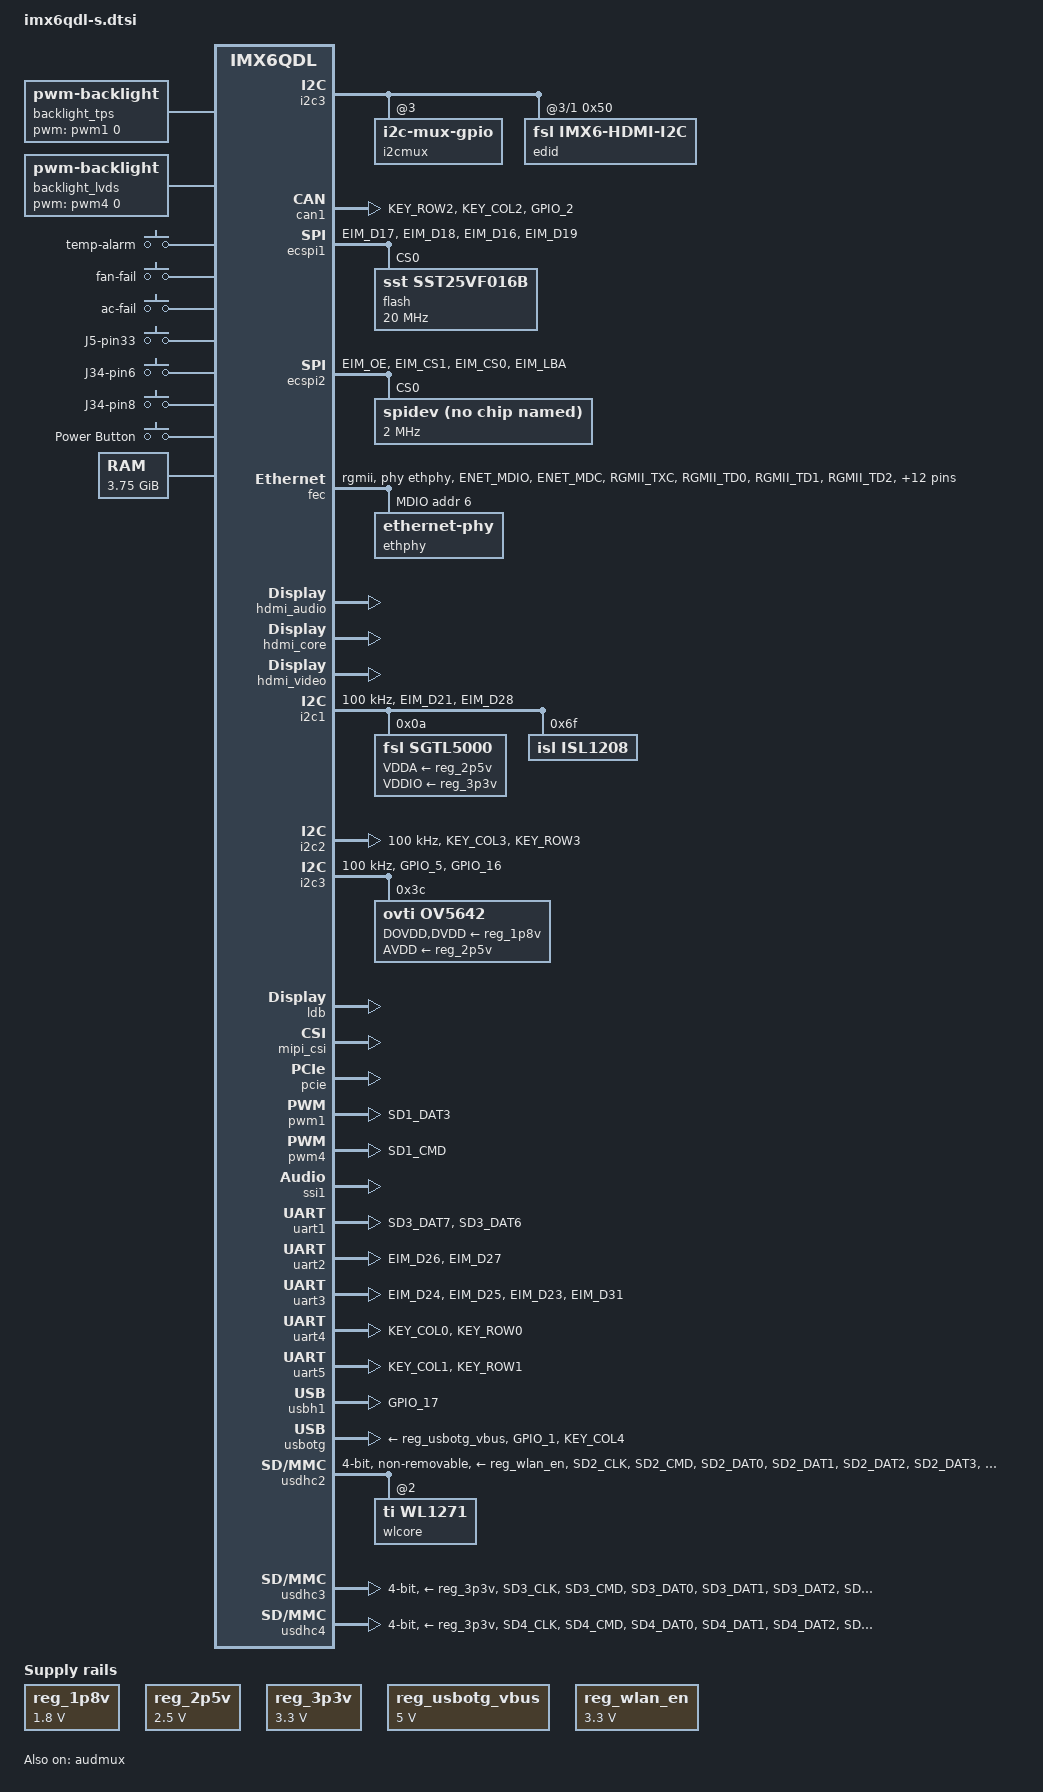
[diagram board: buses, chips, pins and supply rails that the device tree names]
/*
 * Copyright 2015 Boundary Devices, Inc.
 * Copyright 2012 Freescale Semiconductor, Inc.
 * Copyright 2011 Linaro Ltd.
 *
 * The code contained herein is licensed under the GNU General Public
 * License. You may obtain a copy of the GNU General Public License
 * Version 2 or later at the following locations:
 *
 * http://www.opensource.org/licenses/gpl-license.html
 * http://www.gnu.org/copyleft/gpl.html
 */
#include <dt-bindings/gpio/gpio.h>
#include <dt-bindings/input/input.h>

&iomuxc {
	pinctrl-names = "default";
	pinctrl-0 = <&pinctrl_hog>;

	iomuxc_imx6q_s: iomuxc-imx6q-sgrp {
		status = "okay";
	};
};

&iomuxc_imx6q_s {
	pinctrl_audmux: audmuxgrp {
		fsl,pins = <
			MX6QDL_PAD_CSI0_DAT7__AUD3_RXD		0x130b0
			MX6QDL_PAD_CSI0_DAT4__AUD3_TXC		0x130b0
			MX6QDL_PAD_CSI0_DAT5__AUD3_TXD		0x110b0
			MX6QDL_PAD_CSI0_DAT6__AUD3_TXFS		0x130b0
		>;
	};

	pinctrl_bt_rfkill: bt-rfkillgrp {
		fsl,pins = <
#define GP_BT_RFKILL_RESET	<&gpio6 16 GPIO_ACTIVE_LOW>
			MX6QDL_PAD_NANDF_CS3__GPIO6_IO16	0x030b0
		>;
	};

	pinctrl_ecspi1: ecspi1grp {
		fsl,pins = <
			MX6QDL_PAD_EIM_D17__ECSPI1_MISO		0x100b1
			MX6QDL_PAD_EIM_D18__ECSPI1_MOSI		0x100b1
			MX6QDL_PAD_EIM_D16__ECSPI1_SCLK		0x000b1
#define GP_ECSPI1_NOR_CS	<&gpio3 19 GPIO_ACTIVE_LOW>
			MX6QDL_PAD_EIM_D19__GPIO3_IO19		0x0b0b1
		>;
	};

	pinctrl_ecspi2: ecspi2grp {
		fsl,pins = <
			MX6QDL_PAD_EIM_OE__ECSPI2_MISO		0x100b1
			MX6QDL_PAD_EIM_CS1__ECSPI2_MOSI		0x100b1
			MX6QDL_PAD_EIM_CS0__ECSPI2_SCLK		0x000b1
#define GP_ECSPI2_CS1		<&gpio5 9 GPIO_ACTIVE_LOW>
			MX6QDL_PAD_EIM_LBA__GPIO2_IO27		0x0b0b1
		>;
	};

	pinctrl_enet: enetgrp {
		fsl,pins = <
			MX6QDL_PAD_ENET_MDIO__ENET_MDIO		0x1b0b0
			MX6QDL_PAD_ENET_MDC__ENET_MDC		0x1b0b0
			MX6QDL_PAD_RGMII_TXC__RGMII_TXC		0x100b0
			MX6QDL_PAD_RGMII_TD0__RGMII_TD0		0x100b0
			MX6QDL_PAD_RGMII_TD1__RGMII_TD1		0x100b0
			MX6QDL_PAD_RGMII_TD2__RGMII_TD2		0x100b0
			MX6QDL_PAD_RGMII_TD3__RGMII_TD3		0x100b0
			MX6QDL_PAD_RGMII_TX_CTL__RGMII_TX_CTL	0x100b0
			MX6QDL_PAD_ENET_REF_CLK__ENET_TX_CLK	0x100b0
			MX6QDL_PAD_RGMII_RXC__RGMII_RXC		0x1b0b0
			MX6QDL_PAD_RGMII_RD0__RGMII_RD0		0x1b0b0
			MX6QDL_PAD_RGMII_RD1__RGMII_RD1		0x1b0b0
			MX6QDL_PAD_RGMII_RD2__RGMII_RD2		0x1b0b0
			MX6QDL_PAD_RGMII_RD3__RGMII_RD3		0x1b0b0
			MX6QDL_PAD_RGMII_RX_CTL__RGMII_RX_CTL	0x1b0b0
#define GP_ENET_PHY_RESET	<&gpio1 27 GPIO_ACTIVE_LOW>
			MX6QDL_PAD_ENET_RXD0__GPIO1_IO27	0x030b0
#define GPIRQ_ENET_PHY		<&gpio1 28 IRQ_TYPE_LEVEL_LOW>
			MX6QDL_PAD_ENET_TX_EN__GPIO1_IO28	0x1b0b0
#define GPIRQ_ENET		<&gpio1 6 IRQ_TYPE_LEVEL_HIGH>
			MX6QDL_PAD_GPIO_6__ENET_IRQ		0x000b1
		>;
	};

	pinctrl_flexcan1: flexcan1grp {
		fsl,pins = <
			MX6QDL_PAD_KEY_ROW2__FLEXCAN1_RX	0x1b0b0
			MX6QDL_PAD_KEY_COL2__FLEXCAN1_TX	0x1b0b0
#define GP_FLEXCAN1_STANDBY	<&gpio1 2 GPIO_ACTIVE_HIGH>
			MX6QDL_PAD_GPIO_2__GPIO1_IO02		0x0b0b0
		>;
	};

	pinctrl_gpio_keys: gpio-keysgrp {
		fsl,pins = <
#define GP_TEMP_ALARM		<&gpio2 21 GPIO_ACTIVE_LOW>
			MX6QDL_PAD_EIM_A17__GPIO2_IO21		0x1b0b0
#define GP_FAN_FAIL		<&gpio2 19 GPIO_ACTIVE_LOW>
			MX6QDL_PAD_EIM_A19__GPIO2_IO19		0x1b0b0
#define GP_AC_FAIL		<&gpio2 18 GPIO_ACTIVE_LOW>
			MX6QDL_PAD_EIM_A20__GPIO2_IO18		0x1b0b0
#define GP_J5_PIN33		<&gpio1 16 GPIO_ACTIVE_LOW>
			MX6QDL_PAD_SD1_DAT0__GPIO1_IO16		0x1b0b0
#define GP_J34_PIN6		<&gpio5 4 GPIO_ACTIVE_LOW>
			MX6QDL_PAD_EIM_A24__GPIO5_IO04		0x1b0b0
#define GP_J34_PIN8		<&gpio6 6 GPIO_ACTIVE_LOW>
			MX6QDL_PAD_EIM_A23__GPIO6_IO06		0x1b0b0
#define GP_ON_OFF		<&gpio2 7 GPIO_ACTIVE_LOW>
			MX6QDL_PAD_NANDF_D7__GPIO2_IO07		0x1b0b0
		>;
	};

	pinctrl_hog: hoggrp {
		fsl,pins = <
#define GP_LED_RED		<&gpio4 15 GPIO_ACTIVE_LOW>
			MX6QDL_PAD_KEY_ROW4__GPIO4_IO15		0x0b0b0
#define GP_LED_GREEN		<&gpio1 7 GPIO_ACTIVE_LOW>
			MX6QDL_PAD_GPIO_7__GPIO1_IO07		0x0b0b0
#define GP_LED_AMBER		<&gpio1 9 GPIO_ACTIVE_LOW>
			MX6QDL_PAD_GPIO_9__GPIO1_IO09		0x0b0b0
#define GP_J34_DRY1		<&gpio2 16 GPIO_ACTIVE_HIGH>
			MX6QDL_PAD_EIM_A22__GPIO2_IO16		0x030b0
#define GP_J34_DRY2		<&gpio5 2 GPIO_ACTIVE_HIGH>
			MX6QDL_PAD_EIM_A25__GPIO5_IO02		0x030b0
#define GP_TP_R201		<&gpio4 16 GPIO_ACTIVE_LOW>
			MX6QDL_PAD_DI0_DISP_CLK__GPIO4_IO16	0x1b0b0
		>;
	};

	pinctrl_i2c1: i2c1grp {
		fsl,pins = <
			MX6QDL_PAD_EIM_D21__I2C1_SCL		0x4001b8b1
			MX6QDL_PAD_EIM_D28__I2C1_SDA		0x4001b8b1
		>;
	};

	pinctrl_i2c1_isl1208: i2c1-isl1208grp {
		fsl,pins = <
#define GPIRQ_RTC_ISL1208	<&gpio6 7 IRQ_TYPE_LEVEL_LOW>
			MX6QDL_PAD_NANDF_CLE__GPIO6_IO07	0x1b0b0
		>;
	};

	pinctrl_i2c1_sgtl5000: i2c1-sgtl5000grp {
		fsl,pins = <
			MX6QDL_PAD_GPIO_0__CCM_CLKO1		0x000b0		/* sys_mclk */
#define GP_TDA7491P_GAIN0	<&gpio3 20 GPIO_ACTIVE_HIGH>
			MX6QDL_PAD_EIM_D20__GPIO3_IO20		0x030b0
#define GP_TDA7491P_GAIN1	<&gpio3 30 GPIO_ACTIVE_HIGH>
			MX6QDL_PAD_EIM_D30__GPIO3_IO30		0x030b0
#define GP_TDA7491P_STBY	<&gpio2 20 GPIO_ACTIVE_LOW>
			MX6QDL_PAD_EIM_A18__GPIO2_IO20		0x030b0
#define GP_TDA7491P_MUTE	<&gpio2 22 GPIO_ACTIVE_LOW>
			MX6QDL_PAD_EIM_A16__GPIO2_IO22		0x030b0
#define GPIRQ_MIC_DET		<&gpio1 24 IRQ_TYPE_LEVEL_LOW>
			MX6QDL_PAD_ENET_RX_ER__GPIO1_IO24	0x1b0b0
		>;
	};

	pinctrl_i2c2: i2c2grp {
		fsl,pins = <
			MX6QDL_PAD_KEY_COL3__I2C2_SCL		0x4001b8b1
			MX6QDL_PAD_KEY_ROW3__I2C2_SDA		0x4001b8b1
		>;
	};

	pinctrl_i2c3: i2c3grp {
		fsl,pins = <
			MX6QDL_PAD_GPIO_5__I2C3_SCL		0x4001b8b1
			MX6QDL_PAD_GPIO_16__I2C3_SDA		0x4001b8b1
		>;
	};

	pinctrl_i2c3_ov5642: i2c2a-ov5642grp { /* parallel camera */
		fsl,pins = <
			MX6QDL_PAD_CSI0_DAT12__IPU1_CSI0_DATA12		0x1b0b0
			MX6QDL_PAD_CSI0_DAT13__IPU1_CSI0_DATA13		0x1b0b0
			MX6QDL_PAD_CSI0_DAT14__IPU1_CSI0_DATA14		0x1b0b0
			MX6QDL_PAD_CSI0_DAT15__IPU1_CSI0_DATA15		0x1b0b0
			MX6QDL_PAD_CSI0_DAT16__IPU1_CSI0_DATA16		0x1b0b0
			MX6QDL_PAD_CSI0_DAT17__IPU1_CSI0_DATA17		0x1b0b0
			MX6QDL_PAD_CSI0_DAT18__IPU1_CSI0_DATA18		0x1b0b0
			MX6QDL_PAD_CSI0_DAT19__IPU1_CSI0_DATA19		0x1b0b0
			MX6QDL_PAD_CSI0_DATA_EN__IPU1_CSI0_DATA_EN	0x1b0b0
			MX6QDL_PAD_CSI0_PIXCLK__IPU1_CSI0_PIXCLK	0x1b0b0
			MX6QDL_PAD_CSI0_MCLK__IPU1_CSI0_HSYNC		0x1b0b0
			MX6QDL_PAD_CSI0_VSYNC__IPU1_CSI0_VSYNC		0x1b0b0
			MX6QDL_PAD_GPIO_3__CCM_CLKO2			0x000b0		/* mclk */
#define GP_OV5642_POWER_DOWN	<&gpio3 29 GPIO_ACTIVE_HIGH>
			MX6QDL_PAD_EIM_D29__GPIO3_IO29			0x0b0b0
#define GP_OV5642_RESET		<&gpio1 8 GPIO_ACTIVE_LOW>
			MX6QDL_PAD_GPIO_8__GPIO1_IO08			0x030b0
		>;
	};

	pinctrl_i2c3mux: i2c3muxgrp {
		fsl,pins = <
#define GP_I2C3_EDID		<&gpio2 17 GPIO_ACTIVE_HIGH>
			MX6QDL_PAD_EIM_A21__GPIO2_IO17			0x030b0
		>;
	};

	pinctrl_poweroff: poweroffgrp {
		fsl,pins = <
	/* Main power, high shuts down system */
#define GP_POWER_OFF			<&gpio7 1 GPIO_ACTIVE_HIGH>
			MX6QDL_PAD_SD3_DAT4__GPIO7_IO01		0x030b0
		>;
	};

	pinctrl_pwm1: pwm1grp {
		fsl,pins = <
			MX6QDL_PAD_SD1_DAT3__PWM1_OUT		0x030b1
		>;
	};

	pinctrl_pwm4: pwm4grp {
		fsl,pins = <
			MX6QDL_PAD_SD1_CMD__PWM4_OUT		0x030b1
		>;
	};

	pinctrl_reg_usbotg_vbus: reg-usbotg-vbusgrp {
		fsl,pins = <
#define GP_REG_USBOTG	<&gpio3 22 GPIO_ACTIVE_HIGH>
			MX6QDL_PAD_EIM_D22__GPIO3_IO22		0x030b0
		>;
	};

	pinctrl_reg_wlan_en: reg-wlan-engrp {
		fsl,pins = <
#define GP_REG_WLAN_EN	<&gpio6 15 GPIO_ACTIVE_HIGH>
			MX6QDL_PAD_NANDF_CS2__GPIO6_IO15	0x030b0
		>;
	};

	pinctrl_uart1: uart1grp {
		fsl,pins = <
			MX6QDL_PAD_SD3_DAT7__UART1_TX_DATA	0x1b0b1
			MX6QDL_PAD_SD3_DAT6__UART1_RX_DATA	0x1b0b1
		>;
	};

	pinctrl_uart2: uart2grp {
		fsl,pins = <
			MX6QDL_PAD_EIM_D26__UART2_TX_DATA	0x1b0b1
			MX6QDL_PAD_EIM_D27__UART2_RX_DATA	0x1b0b1
		>;
	};

	pinctrl_uart3: uart3grp {
		fsl,pins = <
			MX6QDL_PAD_EIM_D24__UART3_TX_DATA	0x1b0b1
			MX6QDL_PAD_EIM_D25__UART3_RX_DATA	0x1b0b1
			MX6QDL_PAD_EIM_D23__UART3_CTS_B		0x1b0b1
			MX6QDL_PAD_EIM_D31__UART3_RTS_B		0x1b0b1
		>;
	};

	pinctrl_uart4: uart4grp {
		fsl,pins = <
			MX6QDL_PAD_KEY_COL0__UART4_TX_DATA	0x0b0b1
			MX6QDL_PAD_KEY_ROW0__UART4_RX_DATA	0x1b0b1
		>;
	};

	pinctrl_uart5: uart5grp {
		fsl,pins = <
			MX6QDL_PAD_KEY_COL1__UART5_TX_DATA	0x0b0b1
			MX6QDL_PAD_KEY_ROW1__UART5_RX_DATA	0x1b0b1
		>;
	};

	pinctrl_usbh1: usbh1grp {
		fsl,pins = <
#define GP_USBH1_HUB_RESET	<&gpio7 12 GPIO_ACTIVE_LOW>
			MX6QDL_PAD_GPIO_17__GPIO7_IO12		0x030b0
		>;
	};

	pinctrl_usbotg: usbotggrp {
		fsl,pins = <
			MX6QDL_PAD_GPIO_1__USB_OTG_ID		0x17059
			MX6QDL_PAD_KEY_COL4__USB_OTG_OC		0x1b0b0
		>;
	};

	pinctrl_usdhc2: usdhc2grp {
		fsl,pins = <
			MX6QDL_PAD_SD2_CLK__SD2_CLK		0x10071
			MX6QDL_PAD_SD2_CMD__SD2_CMD		0x17071
			MX6QDL_PAD_SD2_DAT0__SD2_DATA0		0x17071
			MX6QDL_PAD_SD2_DAT1__SD2_DATA1		0x17071
			MX6QDL_PAD_SD2_DAT2__SD2_DATA2		0x17071
			MX6QDL_PAD_SD2_DAT3__SD2_DATA3		0x17071
			MX6QDL_PAD_SD1_CLK__OSC32K_32K_OUT	0x000b0		/* slow clock */
#define GPIRQ_WL1271	<&gpio6 14 IRQ_TYPE_LEVEL_HIGH>
			MX6QDL_PAD_NANDF_CS1__GPIO6_IO14	0x100b0
		>;
	};

	pinctrl_usdhc3: usdhc3grp {
		fsl,pins = <
			MX6QDL_PAD_SD3_CLK__SD3_CLK		0x10059
			MX6QDL_PAD_SD3_CMD__SD3_CMD		0x17059
			MX6QDL_PAD_SD3_DAT0__SD3_DATA0		0x17059
			MX6QDL_PAD_SD3_DAT1__SD3_DATA1		0x17059
			MX6QDL_PAD_SD3_DAT2__SD3_DATA2		0x17059
			MX6QDL_PAD_SD3_DAT3__SD3_DATA3		0x17059
#define GP_USDHC3_CD	<&gpio7 0 GPIO_ACTIVE_LOW>
			MX6QDL_PAD_SD3_DAT5__GPIO7_IO00		0x1b0b0
		>;
	};

	pinctrl_usdhc4: usdhc4grp {
		fsl,pins = <
			MX6QDL_PAD_SD4_CLK__SD4_CLK		0x10059
			MX6QDL_PAD_SD4_CMD__SD4_CMD		0x17059
			MX6QDL_PAD_SD4_DAT0__SD4_DATA0		0x17059
			MX6QDL_PAD_SD4_DAT1__SD4_DATA1		0x17059
			MX6QDL_PAD_SD4_DAT2__SD4_DATA2		0x17059
			MX6QDL_PAD_SD4_DAT3__SD4_DATA3		0x17059
#define GP_USDHC4_CD	<&gpio2 6 GPIO_ACTIVE_LOW>
			MX6QDL_PAD_NANDF_D6__GPIO2_IO06		0x1b0b0
		>;
	};
};

/ {
	aliases {
		backlight_lvds = &backlight_lvds;
		fb_hdmi = &fb_hdmi;
		fb_lvds = &fb_lvds;
		ldb = &ldb;
		mmc0 = &usdhc3;
		mmc1 = &usdhc4;
		mmc2 = &usdhc2;
		mxcfb0 = &fb_hdmi;
		mxcfb1 = &fb_lvds;
		pwm_lvds = &pwm4;
		t_lvds = &t_lvds;
	};

	backlight_tps: backlight_tps {
		brightness-levels = <0 1 2 3 4 5 6 7 8 9 10>;
		compatible = "pwm-backlight";
		default-brightness-level = <10>;
		pwms = <&pwm1 0 5000000>;
	};

	backlight_lvds: backlight_lvds {
		brightness-levels = <0 1 2 3 4 5 6 7 8 9 10>;
		compatible = "pwm-backlight";
		default-brightness-level = <5>;
		display = <&fb_lvds>;
		pwms = <&pwm4 0 5000000>;
	};

	bt_rfkill {
		compatible = "net,rfkill-gpio";
		pinctrl-names = "default";
		pinctrl-0 = <&pinctrl_bt_rfkill>;
		name = "bt_rfkill";
		type = <2>;	/* bluetooth */
		reset-gpios = GP_BT_RFKILL_RESET;
	};

	fb_hdmi: fb@0 {
		compatible = "fsl,mxc_sdc_fb";
		disp_dev = "hdmi";
		interface_pix_fmt = "RGB24";
		mode_str ="1280x720M@60";
		default_bpp = <32>;
		int_clk = <0>;
		late_init = <0>;
		status = "okay";
	};

	fb_lvds: fb@1 {
		compatible = "fsl,mxc_sdc_fb";
		disp_dev = "ldb";
		interface_pix_fmt = "RGB666";
		default_bpp = <32>;
		int_clk = <0>;
		late_init = <0>;
		status = "okay";
	};

	gpio-keys {
		compatible = "gpio-keys";
		pinctrl-names = "default";
		pinctrl-0 = <&pinctrl_gpio_keys>;

		temp-alarm {
			label = "temp-alarm";
			gpios = GP_TEMP_ALARM;
			linux,code = <KEY_FN_F1>;
		};

		fan-fail {
			label = "fan-fail";
			gpios = GP_FAN_FAIL;
			linux,code = <KEY_FN_F2>;
		};

		ac-fail {
			label = "ac-fail";
			gpios = GP_AC_FAIL;
			linux,code = <KEY_FN_F3>;
		};

		J5-pin33 {
			label = "J5-pin33";
			gpios = GP_J5_PIN33;
			linux,code = <KEY_FN_F4>;
		};

		J34-pin6 {
			label = "J34-pin6";
			gpios = GP_J34_PIN6;
			linux,code = <KEY_FN_F5>;
		};

		J34-pin8 {
			label = "J34-pin8";
			gpios = GP_J34_PIN8;
			linux,code = <KEY_FN_F6>;
		};

		power {
			label = "Power Button";
			gpios = GP_ON_OFF;
			linux,code = <KEY_POWER>;
			gpio-key,wakeup;
		};
	};

	i2cmux@3 {
		compatible = "i2c-mux-gpio";
		pinctrl-names = "default";
		pinctrl-0 = <&pinctrl_i2c3mux>;
		#address-cells = <1>;
		#size-cells = <0>;
		mux-gpios = GP_I2C3_EDID;
		i2c-parent = <&i2c3>;
		idle-state = <0>;

		i2c3a: i2c3@1 {
			reg = <1>;
			#address-cells = <1>;
			#size-cells = <0>;
		};
	};

	memory {
		reg = <0x10000000 0xeffffc00>;
	};

	poweroff: poweroff {
		compatible = "gpio-poweroff";
		gpios = GP_POWER_OFF;
		pinctrl-names = "default";
		pinctrl-0 = <&pinctrl_poweroff>;
	};

	regulators {
		compatible = "simple-bus";
		#address-cells = <1>;
		#size-cells = <0>;

		reg_1p8v: regulator@0 {
			compatible = "regulator-fixed";
			reg = <0>;
			regulator-name = "1P8V";
			regulator-min-microvolt = <1800000>;
			regulator-max-microvolt = <1800000>;
			regulator-always-on;
		};

		reg_2p5v: regulator@1 {
			compatible = "regulator-fixed";
			reg = <1>;
			regulator-name = "2P5V";
			regulator-min-microvolt = <2500000>;
			regulator-max-microvolt = <2500000>;
			regulator-always-on;
		};

		reg_3p3v: regulator@2 {
			compatible = "regulator-fixed";
			reg = <2>;
			regulator-name = "3P3V";
			regulator-min-microvolt = <3300000>;
			regulator-max-microvolt = <3300000>;
			regulator-always-on;
		};

		reg_usbotg_vbus: regulator@3 {
			compatible = "regulator-fixed";
			reg = <3>;
			pinctrl-names = "default";
			pinctrl-0 = <&pinctrl_reg_usbotg_vbus>;
			regulator-name = "usb_otg_vbus";
			regulator-min-microvolt = <5000000>;
			regulator-max-microvolt = <5000000>;
			gpio = GP_REG_USBOTG;
			enable-active-high;
		};

		reg_wlan_en: regulator@4 {
			compatible = "regulator-fixed";
			reg = <4>;
			pinctrl-names = "default";
			pinctrl-0 = <&pinctrl_reg_wlan_en>;
			regulator-name = "wlan-en";
			regulator-min-microvolt = <3300000>;
			regulator-max-microvolt = <3300000>;
			gpio = GP_REG_WLAN_EN;
			startup-delay-us = <70000>;
			enable-active-high;
		};
	};

	sound {
		compatible = "fsl,imx6q-s-sgtl5000",
			     "fsl,imx-audio-sgtl5000";
		model = "imx6q-s-sgtl5000";
		ssi-controller = <&ssi1>;
		audio-codec = <&sgtl5000>;
		audio-routing =
			"MIC_IN", "Mic Jack",
			"Mic Jack", "Mic Bias",
			"Ext Spk", "HP_OUT";
		mux-int-port = <1>;
		mux-ext-port = <3>;
		mute-gpios = GP_TDA7491P_MUTE;
		amp-standby-gpios = GP_TDA7491P_STBY;
		amp-gain-gpios = GP_TDA7491P_GAIN1, GP_TDA7491P_GAIN0;
	};

	sound-hdmi {
		compatible = "fsl,imx6q-audio-hdmi",
			     "fsl,imx-audio-hdmi";
		model = "imx-audio-hdmi";
		hdmi-controller = <&hdmi_audio>;
	};

	v4l2_cap_0 {
		compatible = "fsl,imx6q-v4l2-capture";
		ipu_id = <0>;
		csi_id = <0>;
		mipi_camera = <0>;
		mclk_source = <0>;
		status = "okay";
	};

	v4l2_out {
		compatible = "fsl,mxc_v4l2_output";
		status = "okay";
	};
};

&audmux {
	pinctrl-names = "default";
	pinctrl-0 = <&pinctrl_audmux>;
	status = "okay";
};

&can1 {
	pinctrl-names = "default";
	pinctrl-0 = <&pinctrl_flexcan1>;
	trx-stby-gpio = GP_FLEXCAN1_STANDBY;
	status = "okay";
};

&ecspi1 {
	pinctrl-names = "default";
	pinctrl-0 = <&pinctrl_ecspi1>;
	fsl,spi-num-chipselects = <1>;
	cs-gpios = GP_ECSPI1_NOR_CS;
	status = "okay";

	flash: m25p80@0 {
		compatible = "sst,sst25vf016b";
		spi-max-frequency = <20000000>;
		reg = <0>;
		#address-cells = <1>;
		#size-cells = <1>;
		mtd@00000000 {
			label = "U-Boot";
			reg = <0x0 0xC0000>;
		};

		mtd@000C0000 {
			label = "env";
			reg = <0xC0000 0x2000>;
		};
		mtd@000C2000 {
			label = "splash";
			reg = <0xC2000 0x13e000>;
		};
	};
};

&ecspi2 {
	pinctrl-names = "default";
	pinctrl-0 = <&pinctrl_ecspi2>;
	fsl,spi-num-chipselects = <1>;
	cs-gpios = GP_ECSPI2_CS1;
	status = "okay";

	spidev@0 {
		compatible = "spidev";
		spi-max-frequency = <2000000>;
		reg = <0>;
	};
};

&fec {
	interrupts-extended = GPIRQ_ENET,
			      <&gpc 0 119 IRQ_TYPE_LEVEL_HIGH>;
	phy-handle = <&ethphy>;
	phy-mode = "rgmii";
#if 0
	phy-reset-gpios = GP_ENET_PHY_RESET;
#endif
	pinctrl-names = "default";
	pinctrl-0 = <&pinctrl_enet>;
	status = "okay";

	mdio {
		#address-cells = <0>;
		#size-cells = <1>;

		ethphy: ethernet-phy@6 {
			reg = <6>;
			interrupts-extended = GPIRQ_ENET_PHY;
		};
	};
};

&hdmi_audio {
	status = "okay";
};

&hdmi_core {
	ipu_id = <0>;
	disp_id = <0>;
	status = "okay";
};

&hdmi_video {
	fsl,phy_reg_vlev = <0x0294>;
	fsl,phy_reg_cksymtx = <0x800d>;
	status = "okay";
};

&i2c1 {
	clock-frequency = <100000>;
	pinctrl-names = "default";
	pinctrl-0 = <&pinctrl_i2c1>;
	status = "okay";

	sgtl5000: sgtl5000@0a {
		compatible = "fsl,sgtl5000";
		pinctrl-names = "default";
		pinctrl-0 = <&pinctrl_i2c1_sgtl5000>;
		reg = <0x0a>;
		clocks = <&clks IMX6QDL_CLK_CKO>;
		VDDA-supply = <&reg_2p5v>;
		VDDIO-supply = <&reg_3p3v>;
	};

	isl1208@6f {
		compatible = "isl,isl1208";
		pinctrl-names = "default";
		pinctrl-0 = <&pinctrl_i2c1_isl1208>;
		reg = <0x6f>;
		interrupts-extended = GPIRQ_RTC_ISL1208;
	};
};

&i2c2 {
	clock-frequency = <100000>;
	pinctrl-names = "default";
	pinctrl-0 = <&pinctrl_i2c2>;
	status = "okay";
};

&i2c3 {
	clock-frequency = <100000>;
	pinctrl-names = "default";
	pinctrl-0 = <&pinctrl_i2c3>;
	status = "okay";

	ov5642: ov5642@3c {
		compatible = "ovti,ov5642";
		reg = <0x3c>;
		pinctrl-names = "default";
		pinctrl-0 = <&pinctrl_i2c3_ov5642>;
		clocks = <&clks IMX6QDL_CLK_CKO2>;
		clock-names = "csi_mclk";
		DOVDD-supply = <&reg_1p8v>;
		AVDD-supply = <&reg_2p5v>;
		DVDD-supply = <&reg_1p8v>;
		pwn-gpios = GP_OV5642_POWER_DOWN;
		rst-gpios = GP_OV5642_RESET;
		ipu_id = <0>;
		csi_id = <0>;
		mclk = <24000000>;
		mclk_source = <0>;
	};
};

&i2c3a {
	edid@50 {
		compatible = "fsl,imx6-hdmi-i2c";
		reg = <0x50>;
	};
};

&ldb {
	status = "okay";

	lvds-channel@0 {
		crtc = "ipu1-di1";
		fsl,data-mapping = "spwg";
		fsl,data-width = <18>;
		primary;
		status = "okay";

		display-timings {
			t_lvds: t_lvds_default {
				clock-frequency = <68936991>;
				hactive = <1280>;
				vactive = <800>;
				hback-porch = <48>;
				hfront-porch = <48>;
				vback-porch = <8>;
				vfront-porch = <2>;
				hsync-len = <32>;
				vsync-len = <6>;
			};
		};
	};
};

&mipi_csi {
	lanes = <2>;
	status = "okay";
};

&pcie {
	status = "okay";
};

&pwm1 {
	pinctrl-names = "default";
	pinctrl-0 = <&pinctrl_pwm1>;
	status = "okay";
};

&pwm4 {
	pinctrl-names = "default";
	pinctrl-0 = <&pinctrl_pwm4>;
	status = "okay";
};

&ssi1 {
	fsl,mode = "i2s-slave";
	status = "okay";
};

&uart1 {
	pinctrl-names = "default";
	pinctrl-0 = <&pinctrl_uart1>;
	status = "okay";
};

&uart2 {
	pinctrl-names = "default";
	pinctrl-0 = <&pinctrl_uart2>;
	status = "okay";
};

&uart3 {
	pinctrl-names = "default";
	pinctrl-0 = <&pinctrl_uart3>;
	fsl,uart-has-rtscts;
	status = "okay";
};

&uart4 {
	pinctrl-names = "default";
	pinctrl-0 = <&pinctrl_uart4>;
	status = "okay";
};

&uart5 {
	pinctrl-names = "default";
	pinctrl-0 = <&pinctrl_uart5>;
	status = "okay";
};

&usbh1 {
	pinctrl-names = "default";
	pinctrl-0 = <&pinctrl_usbh1>;
	disable-over-current;
	reset-gpios = GP_USBH1_HUB_RESET;
	status = "okay";
};

&usbotg {
	vbus-supply = <&reg_usbotg_vbus>;
	pinctrl-names = "default";
	pinctrl-0 = <&pinctrl_usbotg>;
	disable-over-current;
	status = "okay";
};

&usdhc2 {	/* uSDHC2, TiWi wl1271 */
	pinctrl-names = "default";
	pinctrl-0 = <&pinctrl_usdhc2>;
	bus-width = <4>;
	non-removable;
	vmmc-supply = <&reg_wlan_en>;
	vqmmc-1-8-v;
	cap-power-off-card;
	keep-power-in-suspend;
	status = "okay";

	#address-cells = <1>;
	#size-cells = <0>;
	wlcore: wlcore@2 {
		compatible = "ti,wl1271";
		interrupts-extended = GPIRQ_WL1271;
		reg = <2>;
		ref-clock-frequency = <38400000>;
	};
};

&usdhc3 {
	pinctrl-names = "default";
	pinctrl-0 = <&pinctrl_usdhc3>;
	bus-width = <4>;
	cd-gpios = GP_USDHC3_CD;
	vmmc-supply = <&reg_3p3v>;
	status = "okay";
};

&usdhc4 {
	pinctrl-names = "default";
	pinctrl-0 = <&pinctrl_usdhc4>;
	bus-width = <4>;
	cd-gpios = GP_USDHC4_CD;
	vmmc-supply = <&reg_3p3v>;
	status = "okay";
};
